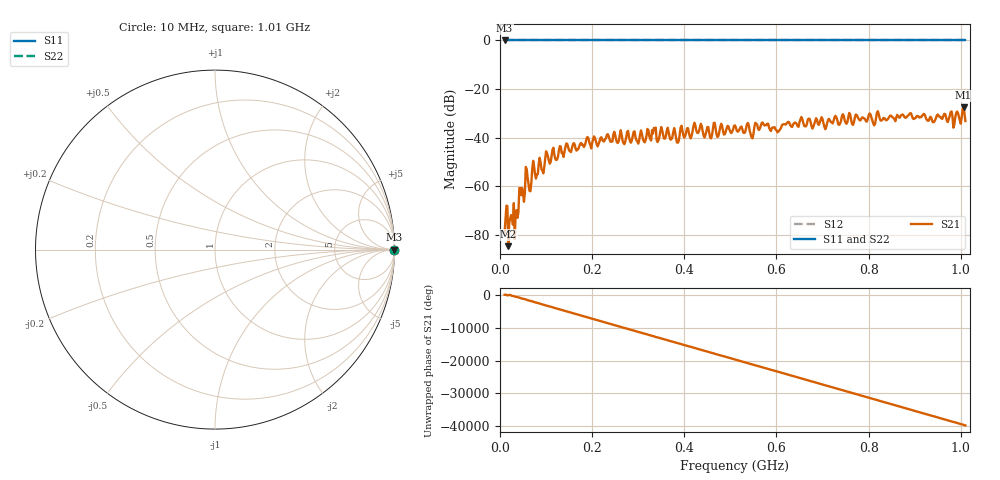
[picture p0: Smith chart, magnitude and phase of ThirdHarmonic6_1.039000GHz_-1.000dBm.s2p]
! 8/16/2025 9:00:12 AM
! C:\ANRITSUVNA\TEMP\TEMP.S2P
! CHANNEL.1
! TR.MEASUREMENT
! RAW.DATA
! RF.CORRECTION.OFF
! AVERAGING.OFF
! IF.BANDWIDTH: 5KHZ
! SWEEPTYPE:  FREQ.SWEEP(Linear)
! Reference Plane Port Info
! PORT:  PORT1  PORT2
! DISTANCE:  0  m  0  m
! TIME:  0  s  0  s
! PHASE.OFFSET:  0  deg.  0  deg.
! LOSS:  0  dB  0  dB
! REF.LOSS:  0  dB  0  dB
! REF.FREQ:  0  Hz  0  Hz
! Power Info
! POWER:  -20  dBm  -20  dBm
! EFF.POWER:  -20  dBm  -20  dBm
! SOURCE.ATTEN:  0  dB  0  dB
! TEST.ATTEN:  0  dB  0  dB
# GHZ S RI R 50.0
! FREQ.GHZ  S11RE  S11IM  S21RE  S21IM  S12RE  S12IM  S22RE  S22IM
!; PortSelection: Port_12
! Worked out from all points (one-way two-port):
!   501 points, 10 MHz to 1.01 GHz, reference 50 ohm
!   highest |S21| = -27.49 dB at 1.006 GHz (marker M1); lowest = -84.7 dB at 18 MHz (marker M2)
!   lowest |S11| = 0.0 dB at 10 MHz (marker M3)
!   |S11| at or under -10 dB: nowhere
!   |S22| runs from 0.0 to 0.0 dB; largest |S21 - S12| = 1
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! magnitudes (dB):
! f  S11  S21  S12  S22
! 10 MHz  0.0  -78.9  0.0  0.0
! 18 MHz  0.0  -84.7  0.0  0.0
! 36 MHz  0.0  -69.8  0.0  0.0
! 46 MHz  0.0  -63.7  0.0  0.0
! 50 MHz  0.0  -63.0  0.0  0.0
! 58 MHz  0.0  -53.0  0.0  0.0
! 64 MHz  0.0  -61.9  0.0  0.0
! 72 MHz  0.0  -49.5  0.0  0.0
! 94 MHz  0.0  -54.7  0.0  0.0
! 102 MHz  0.0  -46.5  0.0  0.0
! 178 MHz  0.0  -43.0  0.0  0.0
! 314 MHz  0.0  -41.9  0.0  0.0
! 334 MHz  0.0  -36.0  0.0  0.0
! 344 MHz  0.0  -41.1  0.0  0.0
! 510 MHz  0.0  -34.9  0.0  0.0
! 538 MHz  0.0  -33.9  0.0  0.0
! 546 MHz  0.0  -39.9  0.0  0.0
! 572 MHz  0.0  -34.4  0.0  0.0
! 678 MHz  0.0  -36.3  0.0  0.0
! 844 MHz  0.0  -31.7  0.0  0.0
! 1.006 GHz  0.0  -27.5  0.0  0.0
! 1.01 GHz  0.0  -33.2  0.0  0.0
